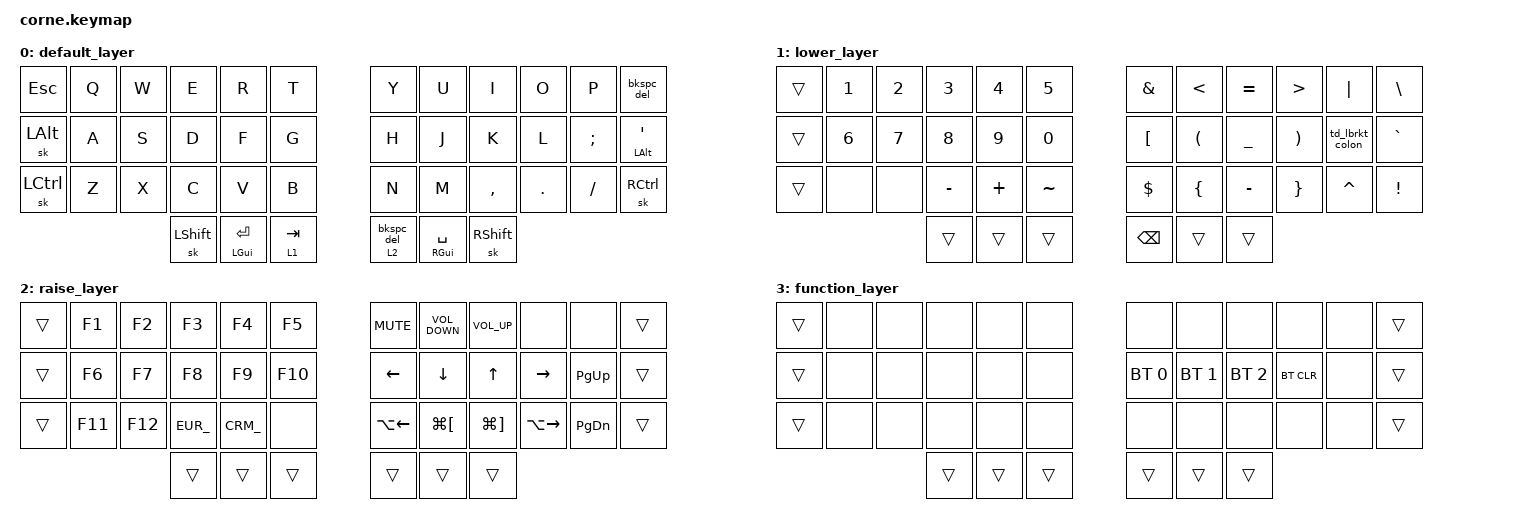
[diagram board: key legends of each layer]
/*
 * Copyright (c) 2020 The ZMK Contributors
 *
 * SPDX-License-Identifier: MIT
 */

#include <dt-bindings/led/led.h>
#include <dt-bindings/zmk/reset.h>
#include <behaviors.dtsi>
#include <dt-bindings/zmk/bt.h>
#include <dt-bindings/zmk/keys.h>

&led_strip { chain-length = <27>; };

&mt {
    bindings = <&kp>, <&kp>;

    flavor = "balanced";
    tapping-term-ms = <150>;
    quick-tap-ms = <50>;
};

/ {
    combos {
        compatible = "zmk,combos";

        L_reset {
            bindings = <&sys_reset>;
            key-positions = <3 16 29>;
            timeout-ms = <50>;
            layers = <0>;
        };

        R_reset {
            bindings = <&sys_reset>;
            key-positions = <30 19 8>;
            timeout-ms = <50>;
            layers = <0>;
        };

        L_boot {
            bindings = <&bootloader>;
            key-positions = <0 13 26>;
            timeout-ms = <50>;
            layers = <0>;
        };

        R_boot {
            bindings = <&bootloader>;
            key-positions = <11 22 33>;
            timeout-ms = <50>;
            layers = <0>;
        };

        Cmd_Shift_F12 {
            bindings = <&kp LS(LG(F12))>;
            key-positions = <3 4>;
            timeout-ms = <50>;
            layers = <0>;
            require-prior-idle-ms = <30>;
        };

        input_ch {
            bindings = <&kp LC(SPACE)>;
            key-positions = <19 21>;
            timeout-ms = <50>;
            layers = <0>;
            require-prior-idle-ms = <30>;
        };

        CAPS_LOCK {
            bindings = <&kp CAPSLOCK>;
            key-positions = <36 41>;
            timeout-ms = <150>;
            require-prior-idle-ms = <30>;
            layers = <0>;
        };

        LAYER_3 {
            bindings = <&mo 3>;
            key-positions = <38 39>;
            timeout-ms = <50>;
            layers = <0>;
        };
    };

    macros {
        EUR_: EUR_ {
            compatible = "zmk,behavior-macro";
            #binding-cells = <0>;
            bindings = <&macro_tap>, <&kp LS(E) &kp LS(U) &kp LS(R) &kp UNDER>;

            label = "EUR_";
        };

        CRM_: CRM_ {
            compatible = "zmk,behavior-macro";
            #binding-cells = <0>;
            bindings = <&macro_tap>, <&kp LS(C) &kp LS(R) &kp LS(M) &kp UNDER>;

            label = "CRM_";
        };
    };

    behaviors {
        bkspc_del: bkspc_del {
            compatible = "zmk,behavior-mod-morph";
            label = "BKSPC_DEL";
            bindings = <&kp BACKSPACE>, <&kp DELETE>;

            #binding-cells = <0>;
            mods = <(MOD_RSFT|MOD_LSFT)>;
        };

        layer_mod_morph: layer_mod_morph {
            compatible = "zmk,behavior-hold-tap";
            label = "LAYER_MOD_MORPH";
            bindings = <&mo>, <&bkspc_del>;

            #binding-cells = <2>;
            tapping-term-ms = <150>;
            flavor = "balanced";
        };

        td_lbrkt_colon: td_lbrkt_colon {
            compatible = "zmk,behavior-tap-dance";
            label = "TD_LBRKT_COLON";
            #binding-cells = <0>;
            tapping-term-ms = <200>;
            bindings = <&kp RIGHT_BRACKET>, <&kp COLON>;
        };
    };

    keymap {
        compatible = "zmk,keymap";

        default_layer {
            bindings = <
&kp ESCAPE  &kp Q  &kp W  &kp E       &kp R               &kp T        &kp Y                 &kp U           &kp I            &kp O    &kp P          &bkspc_del
&sk LALT    &kp A  &kp S  &kp D       &kp F               &kp G        &kp H                 &kp J           &kp K            &kp L    &kp SEMICOLON  &mt LEFT_ALT SINGLE_QUOTE
&sk LCTRL   &kp Z  &kp X  &kp C       &kp V               &kp B        &kp N                 &kp M           &kp COMMA        &kp DOT  &kp FSLH       &sk RCTRL
                          &sk LSHIFT  &mt LEFT_GUI ENTER  &lt 1 TAB    &layer_mod_morph 2 0  &mt RGUI SPACE  &sk RIGHT_SHIFT
            >;
        };

        lower_layer {
            bindings = <
&trans  &kp N1  &kp N2  &kp N3     &kp N4    &kp N5       &kp AMPS       &kp LT    &kp EQUAL  &kp GT    &kp PIPE         &kp BACKSLASH
&trans  &kp N6  &kp N7  &kp N8     &kp N9    &kp N0       &kp LBKT       &kp LPAR  &kp UNDER  &kp RPAR  &td_lbrkt_colon  &kp GRAVE
&trans  &none   &none   &kp MINUS  &kp PLUS  &kp TILDE    &kp DLLR       &kp LBRC  &kp MINUS  &kp RBRC  &kp CARET        &kp EXCL
                        &trans     &trans    &trans       &kp BACKSPACE  &trans    &trans
            >;
        };

        raise_layer {
            bindings = <
&trans  &kp F1   &kp F2   &kp F3  &kp F4  &kp F5     &kp C_MUTE          &kp C_VOLUME_DOWN     &kp C_VOL_UP           &none                &none          &trans
&trans  &kp F6   &kp F7   &kp F8  &kp F9  &kp F10    &kp LEFT            &kp DOWN              &kp UP_ARROW           &kp RIGHT            &kp PAGE_UP    &trans
&trans  &kp F11  &kp F12  &EUR_   &CRM_   &none      &kp LA(LEFT_ARROW)  &kp LG(LEFT_BRACKET)  &kp LG(RIGHT_BRACKET)  &kp LA(RIGHT_ARROW)  &kp PAGE_DOWN  &trans
                          &trans  &trans  &trans     &trans              &trans                &trans
            >;
        };

        function_layer {
            bindings = <
&trans  &none  &none  &none   &none   &none     &none         &none         &none         &none       &none  &trans
&trans  &none  &none  &none   &none   &none     &bt BT_SEL 0  &bt BT_SEL 1  &bt BT_SEL 2  &bt BT_CLR  &none  &trans
&trans  &none  &none  &none   &none   &none     &none         &none         &none         &none       &none  &trans
                      &trans  &trans  &trans    &trans        &trans        &trans
            >;
        };
    };
};
